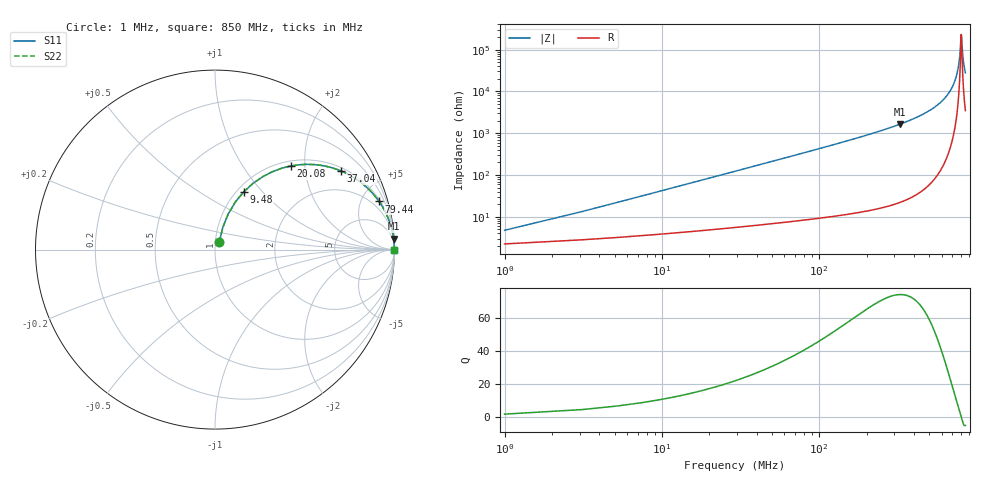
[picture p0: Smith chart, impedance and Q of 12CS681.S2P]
! Coilcraft 1206CS-681 Chip Inductor
! 29 July 2002
# MHZ S MA R 50
!Freq  MagS11  AngS11  MagS21  AngS21  MagS12  AngS12  MagS22  AngS22
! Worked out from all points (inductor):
!   402 points, 1 MHz to 850 MHz, reference 50 ohm
!   read as one part in series: L = 670 nH near 5.24 MHz
!   highest Q = 74.5 at 325.4 MHz (marker M1), where L = 803 nH
!   self-resonance near 800.2 MHz
!   S11 on the Smith chart (normalised r, x): 1 MHz: 1.05, +0.08; 9.48 MHz: 1.08, +0.80; 20.08 MHz: 1.10, +1.69; 37.04 MHz: 1.12, +3.13; 79.44 MHz: 1.17, +6.75; 850 MHz: open
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1  0.04665 59.5  0.9772 -2.4  0.9772 -2.4  0.04665 59.5
7.36  0.2886 66.8  0.9253 -16.7  0.9253 -16.7  0.2886 66.8
9.48  0.3605 63.5  0.8991 -21.0  0.8991 -21.0  0.3605 63.5
20.08  0.6288 47.8  0.7422 -38.9  0.7422 -38.9  0.6288 47.8
37.04  0.828 31.9  0.5295 -55.8  0.5295 -55.8  0.828 31.9
54  0.9059 23.3  0.3965 -64.9  0.3965 -64.9  0.9059 23.3
79.44  0.9525 16.4  0.2819 -72.2  0.2819 -72.2  0.9525 16.4
143.04  0.9846 9.1  0.1583 -79.9  0.1583 -79.9  0.9846 9.1
285.08  0.9964 4.2  0.07249 -85.1  0.07249 -85.1  0.9964 4.2
325.36  0.9973 3.5  0.06078 -85.7  0.06078 -85.7  0.9973 3.5
427.12  0.9986 2.3  0.03973 -86.9  0.03973 -86.9  0.9986 2.3
567.04  0.9993 1.2  0.02086 -87.6  0.02086 -87.6  0.9993 1.2
649.72  0.9995 0.7  0.01248 -87.4  0.01248 -87.4  0.9995 0.7
709.08  0.9996 0.4  0.007223 -86.3  0.007223 -86.3  0.9996 0.4
743  0.9996 0.3  0.004446 -84.3  0.004446 -84.3  0.9996 0.3
766.32  0.9996 0.1  0.002624 -80.5  0.002624 -80.5  0.9996 0.1
781.16  0.9996 0.1  0.001513 -73.5  0.001513 -73.5  0.9996 0.1
796  0.9996 0.0  0.0005467 -37.7  0.0005467 -37.7  0.9996 0.0
800.24  0.9996 0.0  0.0004338 -2.6  0.0004338 -2.6  0.9996 0.0
804.48  0.9996 -0.0  0.0005246 34.1  0.0005246 34.1  0.9996 -0.0
823.56  0.9996 -0.1  0.001741 75.3  0.001741 75.3  0.9996 -0.1
850  0.9995 -0.2  0.003589 82.6  0.003589 82.6  0.9995 -0.2
